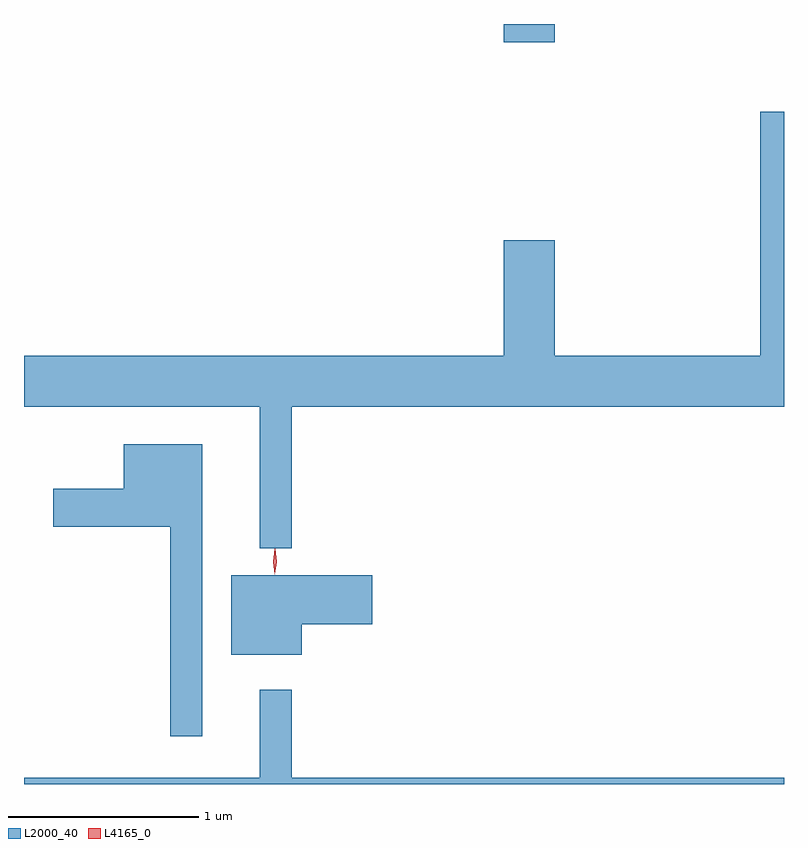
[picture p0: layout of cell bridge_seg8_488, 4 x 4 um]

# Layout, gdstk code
import gdstk
lib = gdstk.Library(unit=1e-6, precision=1e-09)
def R(c, l, rs):  # rectangles x0, y0, x1, y1
    for r in rs: c.add(gdstk.rectangle(r[:2], r[2:], *l))
def P(c, l, *ps):  # polygons
    for p in ps: c.add(gdstk.Polygon(p, *l))
L2000_40 = (2000, 40)
L4165_0 = (4165, 0)

bridge_seg8_488 = lib.new_cell('bridge_seg8_488')
R(bridge_seg8_488, L2000_40, [(314.976,1898.276,315.244,1898.371)])
P(bridge_seg8_488, L2000_40, [(313.859,1896.356),(316.451,1896.356),(316.451,1897.909),(316.326,1897.909),(316.326,1896.624),(315.244,1896.624),(315.244,1897.234),(314.976,1897.234),(314.976,1896.624),(312.451,1896.624),(312.451,1896.356),(313.691,1896.356),(313.691,1895.613),(313.859,1895.613)],
  [(313.389,1896.159),(312.976,1896.159),(312.976,1895.924),(312.606,1895.924),(312.606,1895.726),(313.221,1895.726),(313.221,1894.623),(313.389,1894.623)],
  [(313.914,1895.211),(314.284,1895.211),(314.284,1895.469),(313.541,1895.469),(313.541,1895.051),(313.914,1895.051)],
  [(316.451,1894.404),(313.859,1894.404),(313.859,1894.868),(313.691,1894.868),(313.691,1894.404),(312.451,1894.404),(312.451,1894.371),(316.451,1894.371)])
P(bridge_seg8_488, L4165_0, [(313.771,1895.474),(313.771,1895.474),(313.762,1895.542),(313.772,1895.61),(313.773,1895.61),(313.773,1895.61),(313.782,1895.542),(313.772,1895.474)],
  [(313.771,1895.48),(313.77,1895.481),(313.762,1895.544),(313.772,1895.606),(313.773,1895.607),(313.773,1895.606),(313.782,1895.543),(313.771,1895.481)])

lib.write_gds('bridge_seg8_488.gds')
